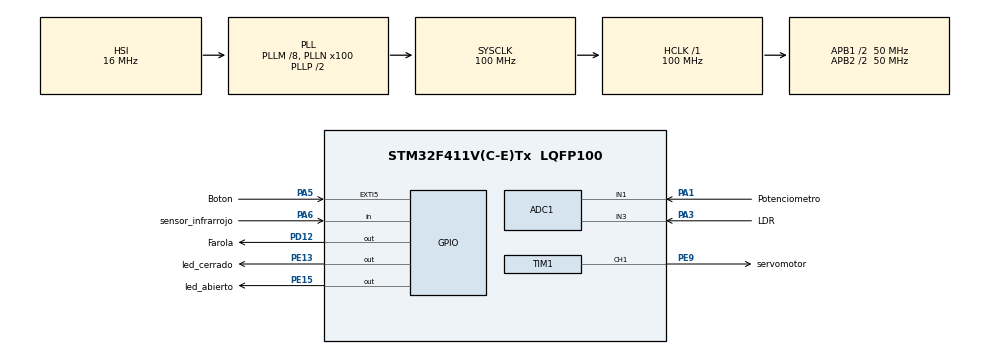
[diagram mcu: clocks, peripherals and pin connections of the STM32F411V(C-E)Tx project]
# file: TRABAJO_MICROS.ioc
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ADC1.Channel-11\#ChannelRegularConversion=ADC_CHANNEL_3
ADC1.Channel-9\#ChannelRegularConversion=ADC_CHANNEL_1
ADC1.ContinuousConvMode=ENABLE
ADC1.DMAContinuousRequests=ENABLE
ADC1.NbrOfConversion=2
ADC1.NbrOfConversionFlag=1
ADC1.Rank-11\#ChannelRegularConversion=2
ADC1.Rank-9\#ChannelRegularConversion=1
ADC1.SamplingTime-11\#ChannelRegularConversion=ADC_SAMPLETIME_480CYCLES
ADC1.SamplingTime-9\#ChannelRegularConversion=ADC_SAMPLETIME_480CYCLES
ADC1.master=1
Dma.ADC1.0.Direction=DMA_PERIPH_TO_MEMORY
Dma.ADC1.0.FIFOMode=DMA_FIFOMODE_DISABLE
Dma.ADC1.0.Instance=DMA2_Stream0
Dma.ADC1.0.MemDataAlignment=DMA_MDATAALIGN_WORD
Dma.ADC1.0.MemInc=DMA_MINC_ENABLE
Dma.ADC1.0.Mode=DMA_CIRCULAR
Dma.ADC1.0.PeriphDataAlignment=DMA_PDATAALIGN_WORD
Dma.ADC1.0.PeriphInc=DMA_PINC_DISABLE
Dma.ADC1.0.Priority=DMA_PRIORITY_LOW
Dma.Request0=ADC1
Mcu.Family=STM32F4
Mcu.Name=STM32F411V(C-E)Tx
Mcu.Package=LQFP100
NVIC.ADC_IRQn=true\:0\:0\:false\:false\:true\:true\:true\:true
NVIC.DMA2_Stream0_IRQn=true\:0\:0\:false\:false\:true\:false\:true\:true
NVIC.EXTI9_5_IRQn=true\:0\:0\:false\:false\:true\:true\:true\:true
NVIC.PriorityGroup=NVIC_PRIORITYGROUP_0
NVIC.TIM3_IRQn=true\:0\:0\:false\:false\:true\:true\:true\:true
PA1.GPIO_Label=Potenciometro
PA1.Signal=ADCx_IN1
PA3.GPIO_Label=LDR
PA3.Signal=ADCx_IN3
PA5.GPIO_Label=Boton
PA5.Signal=GPXTI5
PA6.GPIO_Label=sensor_infrarrojo
PA6.Signal=GPIO_Input
PD12.GPIO_Label=Farola
PD12.Signal=GPIO_Output
PE13.GPIO_Label=led_cerrado
PE13.Signal=GPIO_Output
PE15.GPIO_Label=led_abierto
PE15.Signal=GPIO_Output
PE9.GPIO_Label=servomotor
PE9.Signal=S_TIM1_CH1
ProjectManager.HeapSize=0x200
ProjectManager.StackSize=0x400
ProjectManager.TargetToolchain=STM32CubeIDE
RCC.48MHZClocksFreq_Value=25000000
RCC.AHBFreq_Value=100000000
RCC.APB1CLKDivider=RCC_HCLK_DIV2
RCC.APB1Freq_Value=50000000
RCC.APB1TimFreq_Value=100000000
RCC.APB2CLKDivider=RCC_HCLK_DIV2
RCC.APB2Freq_Value=50000000
RCC.APB2TimFreq_Value=100000000
RCC.CortexFreq_Value=100000000
RCC.HCLKFreq_Value=100000000
RCC.HSE_VALUE=8000000
RCC.HSI_VALUE=16000000
RCC.LSE_VALUE=32768
RCC.PLLI2SM=5
RCC.PLLI2SN=200
RCC.PLLM=8
RCC.PLLN=100
RCC.PLLQ=8
RCC.SYSCLKFreq_VALUE=100000000
RCC.SYSCLKSource=RCC_SYSCLKSOURCE_PLLCLK
RCC.VCOOutputFreq_Value=200000000
SH.ADCx_IN1.0=ADC1_IN1,IN1
SH.ADCx_IN3.0=ADC1_IN3,IN3
SH.S_TIM1_CH1.0=TIM1_CH1,PWM Generation1 CH1
TIM1.AutoReloadPreload=TIM_AUTORELOAD_PRELOAD_ENABLE
TIM1.Channel-PWM\ Generation1\ CH1=TIM_CHANNEL_1
TIM1.CounterMode=TIM_COUNTERMODE_UP
TIM1.Period=100-1
TIM1.Prescaler=20000-1
TIM3.Prescaler=100-1
VP_TIM1_VS_ClockSourceINT.Mode=Internal
VP_TIM3_VS_ClockSourceINT.Mode=Internal
board=STM32F411E-DISCO

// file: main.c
/* USER CODE BEGIN Header */
/**
  ******************************************************************************
  * @file           : main.c
  * @brief          : Main program body
  ******************************************************************************
  * @attention
  *
  * Copyright (c) 2023 STMicroelectronics.
  * All rights reserved.
  *
  * This software is licensed under terms that can be found in the LICENSE file
  * in the root directory of this software component.
  * If no LICENSE file comes with this software, it is provided AS-IS.
  *
  ******************************************************************************
  */
/* USER CODE END Header */
#include "main.h"

ADC_HandleTypeDef hadc1;
DMA_HandleTypeDef hdma_adc1;

TIM_HandleTypeDef htim1;
TIM_HandleTypeDef htim3;

void SystemClock_Config(void);
static void MX_GPIO_Init(void);
static void MX_DMA_Init(void);
static void MX_ADC1_Init(void);
static void MX_TIM1_Init(void);
static void MX_TIM3_Init(void);

/* USER CODE BEGIN 0 */

uint32_t potenciometro_valor=0,ldr_valor=0;
uint32_t valor_adc[2];
volatile uint8_t modo_marcha=0;
volatile uint8_t cerrar=0;
volatile uint8_t dma_completado= 0;

int farola(uint32_t value){
	if(value<3000)return 1;
	else return 0;
}

void HAL_GPIO_EXTI_Callback(uint16_t GPIO_Pin){
	if(GPIO_Pin==GPIO_PIN_5){
		if(modo_marcha==0)modo_marcha=1;
		else if(modo_marcha==1)modo_marcha=0;
	}
}

void servo_automatico(){

	int cont=0,tiempo=0;

		if((HAL_GPIO_ReadPin(GPIOA,GPIO_PIN_6))&&(cerrar==0)){
			tiempo=HAL_GetTick();
			while(cont<4){
				if((HAL_GetTick()-tiempo)>=25){
					if(HAL_GPIO_ReadPin(GPIOA,GPIO_PIN_6)==0){
						cont=0;
						break;
					}
					else {
						tiempo=HAL_GetTick();
						cont++;
					}
				}
				if((cont==4)&&(HAL_GPIO_ReadPin(GPIOA,GPIO_PIN_6)==1)){
					__HAL_TIM_SET_COMPARE(&htim1,TIM_CHANNEL_1,5);
					HAL_GPIO_WritePin(GPIOE,GPIO_PIN_13,1);
					HAL_GPIO_WritePin(GPIOE,GPIO_PIN_15,0);
					cerrar=1;
				}

			}
		}
		cont=0;
}

uint32_t servo_manual(uint32_t value){
	if(value>0 && value<3500){
		HAL_GPIO_WritePin(GPIOE,GPIO_PIN_13,1);
		HAL_GPIO_WritePin(GPIOE,GPIO_PIN_15,0);
		return 5;
	}
	else if(value>=3500){
		HAL_GPIO_WritePin(GPIOE,GPIO_PIN_13,0);
		HAL_GPIO_WritePin(GPIOE,GPIO_PIN_15,1);
		return 8;
	}
	else return 8;
}

void HAL_ADC_ConvCpltCallback(ADC_HandleTypeDef *hadc)
{
  dma_completado= 1;
}

/* USER CODE END 0 */

int main(void)
{

  /* MCU Configuration--------------------------------------------------------*/

  /* Reset of all peripherals, Initializes the Flash interface and the Systick. */
  HAL_Init();

  /* Configure the system clock */
  SystemClock_Config();

  /* Initialize all configured peripherals */
  MX_GPIO_Init();
  MX_DMA_Init();
  MX_ADC1_Init();
  MX_TIM1_Init();
  MX_TIM3_Init();
  /* USER CODE BEGIN 2 */
  HAL_TIM_PWM_Start(&htim1,TIM_CHANNEL_1);
  __HAL_TIM_SET_COMPARE(&htim1,TIM_CHANNEL_1,0);

  HAL_ADC_Start_DMA(&hadc1,valor_adc,2); // lectura de dos canales con DMA

  /* USER CODE END 2 */

  /* Infinite loop */
  /* USER CODE BEGIN WHILE */
  int tiempo_barrera=0;
  int auxiliar=0;
  while (1)
  {
	 potenciometro_valor=valor_adc[0];
	 ldr_valor=valor_adc[1];

	  if(modo_marcha==1) __HAL_TIM_SET_COMPARE(&htim1,TIM_CHANNEL_1,servo_manual(potenciometro_valor));
	  else servo_automatico();

	  HAL_GPIO_WritePin(GPIOD,GPIO_PIN_12,farola(ldr_valor));

	  if((cerrar==1)&&(auxiliar==0)){
		  tiempo_barrera=HAL_GetTick();
		  auxiliar=1;
	  }

	  if(HAL_GetTick()-tiempo_barrera>3000){
		 __HAL_TIM_SET_COMPARE(&htim1,TIM_CHANNEL_1,8);
		 HAL_GPIO_WritePin(GPIOE,GPIO_PIN_13,0);
		 HAL_GPIO_WritePin(GPIOE,GPIO_PIN_15,1);
		 cerrar=0;
		 auxiliar=0;
	  }

    /* USER CODE END WHILE */

  }
}

void SystemClock_Config(void)
{
  RCC_OscInitTypeDef RCC_OscInitStruct = {0};
  RCC_ClkInitTypeDef RCC_ClkInitStruct = {0};

  /** Configure the main internal regulator output voltage
  */
  __HAL_RCC_PWR_CLK_ENABLE();
  __HAL_PWR_VOLTAGESCALING_CONFIG(PWR_REGULATOR_VOLTAGE_SCALE1);

  /** Initializes the RCC Oscillators according to the specified parameters
  * in the RCC_OscInitTypeDef structure.
  */
  RCC_OscInitStruct.OscillatorType = RCC_OSCILLATORTYPE_HSI;
  RCC_OscInitStruct.HSIState = RCC_HSI_ON;
  RCC_OscInitStruct.HSICalibrationValue = RCC_HSICALIBRATION_DEFAULT;
  RCC_OscInitStruct.PLL.PLLState = RCC_PLL_ON;
  RCC_OscInitStruct.PLL.PLLSource = RCC_PLLSOURCE_HSI;
  RCC_OscInitStruct.PLL.PLLM = 8;
  RCC_OscInitStruct.PLL.PLLN = 100;
  RCC_OscInitStruct.PLL.PLLP = RCC_PLLP_DIV2;
  RCC_OscInitStruct.PLL.PLLQ = 8;
  if (HAL_RCC_OscConfig(&RCC_OscInitStruct) != HAL_OK)
  {
    Error_Handler();
  }

  /** Initializes the CPU, AHB and APB buses clocks
  */
  RCC_ClkInitStruct.ClockType = RCC_CLOCKTYPE_HCLK|RCC_CLOCKTYPE_SYSCLK
                              |RCC_CLOCKTYPE_PCLK1|RCC_CLOCKTYPE_PCLK2;
  RCC_ClkInitStruct.SYSCLKSource = RCC_SYSCLKSOURCE_PLLCLK;
  RCC_ClkInitStruct.AHBCLKDivider = RCC_SYSCLK_DIV1;
  RCC_ClkInitStruct.APB1CLKDivider = RCC_HCLK_DIV2;
  RCC_ClkInitStruct.APB2CLKDivider = RCC_HCLK_DIV2;

  if (HAL_RCC_ClockConfig(&RCC_ClkInitStruct, FLASH_LATENCY_3) != HAL_OK)
  {
    Error_Handler();
  }
}

static void MX_ADC1_Init(void)
{

  ADC_ChannelConfTypeDef sConfig = {0};

  /** Configure the global features of the ADC (Clock, Resolution, Data Alignment and number of conversion)
  */
  hadc1.Instance = ADC1;
  hadc1.Init.ClockPrescaler = ADC_CLOCK_SYNC_PCLK_DIV2;
  hadc1.Init.Resolution = ADC_RESOLUTION_12B;
  hadc1.Init.ScanConvMode = ENABLE;
  hadc1.Init.ContinuousConvMode = ENABLE;
  hadc1.Init.DiscontinuousConvMode = DISABLE;
  hadc1.Init.ExternalTrigConvEdge = ADC_EXTERNALTRIGCONVEDGE_NONE;
  hadc1.Init.ExternalTrigConv = ADC_SOFTWARE_START;
  hadc1.Init.DataAlign = ADC_DATAALIGN_RIGHT;
  hadc1.Init.NbrOfConversion = 2;
  hadc1.Init.DMAContinuousRequests = ENABLE;
  hadc1.Init.EOCSelection = ADC_EOC_SINGLE_CONV;
  if (HAL_ADC_Init(&hadc1) != HAL_OK)
  {
    Error_Handler();
  }

  /** Configure for the selected ADC regular channel its corresponding rank in the sequencer and its sample time.
  */
  sConfig.Channel = ADC_CHANNEL_1;
  sConfig.Rank = 1;
  sConfig.SamplingTime = ADC_SAMPLETIME_480CYCLES;
  if (HAL_ADC_ConfigChannel(&hadc1, &sConfig) != HAL_OK)
  {
    Error_Handler();
  }

  /** Configure for the selected ADC regular channel its corresponding rank in the sequencer and its sample time.
  */
  sConfig.Channel = ADC_CHANNEL_3;
  sConfig.Rank = 2;
  if (HAL_ADC_ConfigChannel(&hadc1, &sConfig) != HAL_OK)
  {
    Error_Handler();
  }

}

static void MX_TIM1_Init(void)
{

  TIM_ClockConfigTypeDef sClockSourceConfig = {0};
  TIM_MasterConfigTypeDef sMasterConfig = {0};
  TIM_OC_InitTypeDef sConfigOC = {0};
  TIM_BreakDeadTimeConfigTypeDef sBreakDeadTimeConfig = {0};

  htim1.Instance = TIM1;
  htim1.Init.Prescaler = 20000-1;
  htim1.Init.CounterMode = TIM_COUNTERMODE_UP;
  htim1.Init.Period = 100-1;
  htim1.Init.ClockDivision = TIM_CLOCKDIVISION_DIV1;
  htim1.Init.RepetitionCounter = 0;
  htim1.Init.AutoReloadPreload = TIM_AUTORELOAD_PRELOAD_ENABLE;
  if (HAL_TIM_Base_Init(&htim1) != HAL_OK)
  {
    Error_Handler();
  }
  sClockSourceConfig.ClockSource = TIM_CLOCKSOURCE_INTERNAL;
  if (HAL_TIM_ConfigClockSource(&htim1, &sClockSourceConfig) != HAL_OK)
  {
    Error_Handler();
  }
  if (HAL_TIM_PWM_Init(&htim1) != HAL_OK)
  {
    Error_Handler();
  }
  sMasterConfig.MasterOutputTrigger = TIM_TRGO_RESET;
  sMasterConfig.MasterSlaveMode = TIM_MASTERSLAVEMODE_DISABLE;
  if (HAL_TIMEx_MasterConfigSynchronization(&htim1, &sMasterConfig) != HAL_OK)
  {
    Error_Handler();
  }
  sConfigOC.OCMode = TIM_OCMODE_PWM1;
  sConfigOC.Pulse = 0;
  sConfigOC.OCPolarity = TIM_OCPOLARITY_HIGH;
  sConfigOC.OCNPolarity = TIM_OCNPOLARITY_HIGH;
  sConfigOC.OCFastMode = TIM_OCFAST_DISABLE;
  sConfigOC.OCIdleState = TIM_OCIDLESTATE_RESET;
  sConfigOC.OCNIdleState = TIM_OCNIDLESTATE_RESET;
  if (HAL_TIM_PWM_ConfigChannel(&htim1, &sConfigOC, TIM_CHANNEL_1) != HAL_OK)
  {
    Error_Handler();
  }
  sBreakDeadTimeConfig.OffStateRunMode = TIM_OSSR_DISABLE;
  sBreakDeadTimeConfig.OffStateIDLEMode = TIM_OSSI_DISABLE;
  sBreakDeadTimeConfig.LockLevel = TIM_LOCKLEVEL_OFF;
  sBreakDeadTimeConfig.DeadTime = 0;
  sBreakDeadTimeConfig.BreakState = TIM_BREAK_DISABLE;
  sBreakDeadTimeConfig.BreakPolarity = TIM_BREAKPOLARITY_HIGH;
  sBreakDeadTimeConfig.AutomaticOutput = TIM_AUTOMATICOUTPUT_DISABLE;
  if (HAL_TIMEx_ConfigBreakDeadTime(&htim1, &sBreakDeadTimeConfig) != HAL_OK)
  {
    Error_Handler();
  }
  HAL_TIM_MspPostInit(&htim1);

}

static void MX_TIM3_Init(void)
{

  TIM_ClockConfigTypeDef sClockSourceConfig = {0};
  TIM_MasterConfigTypeDef sMasterConfig = {0};

  htim3.Instance = TIM3;
  htim3.Init.Prescaler = 100-1;
  htim3.Init.CounterMode = TIM_COUNTERMODE_UP;
  htim3.Init.Period = 65535;
  htim3.Init.ClockDivision = TIM_CLOCKDIVISION_DIV1;
  htim3.Init.AutoReloadPreload = TIM_AUTORELOAD_PRELOAD_DISABLE;
  if (HAL_TIM_Base_Init(&htim3) != HAL_OK)
  {
    Error_Handler();
  }
  sClockSourceConfig.ClockSource = TIM_CLOCKSOURCE_INTERNAL;
  if (HAL_TIM_ConfigClockSource(&htim3, &sClockSourceConfig) != HAL_OK)
  {
    Error_Handler();
  }
  sMasterConfig.MasterOutputTrigger = TIM_TRGO_RESET;
  sMasterConfig.MasterSlaveMode = TIM_MASTERSLAVEMODE_DISABLE;
  if (HAL_TIMEx_MasterConfigSynchronization(&htim3, &sMasterConfig) != HAL_OK)
  {
    Error_Handler();
  }

}

static void MX_DMA_Init(void)
{

  /* DMA controller clock enable */
  __HAL_RCC_DMA2_CLK_ENABLE();

  /* DMA interrupt init */
  /* DMA2_Stream0_IRQn interrupt configuration */
  HAL_NVIC_SetPriority(DMA2_Stream0_IRQn, 0, 0);
  HAL_NVIC_EnableIRQ(DMA2_Stream0_IRQn);

}

static void MX_GPIO_Init(void)
{
  GPIO_InitTypeDef GPIO_InitStruct = {0};

  /* GPIO Ports Clock Enable */
  __HAL_RCC_GPIOA_CLK_ENABLE();
  __HAL_RCC_GPIOE_CLK_ENABLE();
  __HAL_RCC_GPIOD_CLK_ENABLE();

  /*Configure GPIO pin Output Level */
  HAL_GPIO_WritePin(GPIOE, led_cerrado_Pin|led_abierto_Pin, GPIO_PIN_RESET);

  /*Configure GPIO pin Output Level */
  HAL_GPIO_WritePin(Farola_GPIO_Port, Farola_Pin, GPIO_PIN_RESET);

  /*Configure GPIO pin : Boton_Pin */
  GPIO_InitStruct.Pin = Boton_Pin;
  GPIO_InitStruct.Mode = GPIO_MODE_IT_RISING;
  GPIO_InitStruct.Pull = GPIO_NOPULL;
  HAL_GPIO_Init(Boton_GPIO_Port, &GPIO_InitStruct);

  /*Configure GPIO pin : sensor_infrarrojo_Pin */
  GPIO_InitStruct.Pin = sensor_infrarrojo_Pin;
  GPIO_InitStruct.Mode = GPIO_MODE_INPUT;
  GPIO_InitStruct.Pull = GPIO_NOPULL;
  HAL_GPIO_Init(sensor_infrarrojo_GPIO_Port, &GPIO_InitStruct);

  /*Configure GPIO pins : led_cerrado_Pin led_abierto_Pin */
  GPIO_InitStruct.Pin = led_cerrado_Pin|led_abierto_Pin;
  GPIO_InitStruct.Mode = GPIO_MODE_OUTPUT_PP;
  GPIO_InitStruct.Pull = GPIO_NOPULL;
  GPIO_InitStruct.Speed = GPIO_SPEED_FREQ_LOW;
  HAL_GPIO_Init(GPIOE, &GPIO_InitStruct);

  /*Configure GPIO pin : Farola_Pin */
  GPIO_InitStruct.Pin = Farola_Pin;
  GPIO_InitStruct.Mode = GPIO_MODE_OUTPUT_PP;
  GPIO_InitStruct.Pull = GPIO_NOPULL;
  GPIO_InitStruct.Speed = GPIO_SPEED_FREQ_LOW;
  HAL_GPIO_Init(Farola_GPIO_Port, &GPIO_InitStruct);

  /* EXTI interrupt init*/
  HAL_NVIC_SetPriority(EXTI9_5_IRQn, 0, 0);
  HAL_NVIC_EnableIRQ(EXTI9_5_IRQn);

}

void Error_Handler(void)
{
  __disable_irq();
  while (1)
  {
  }
}
